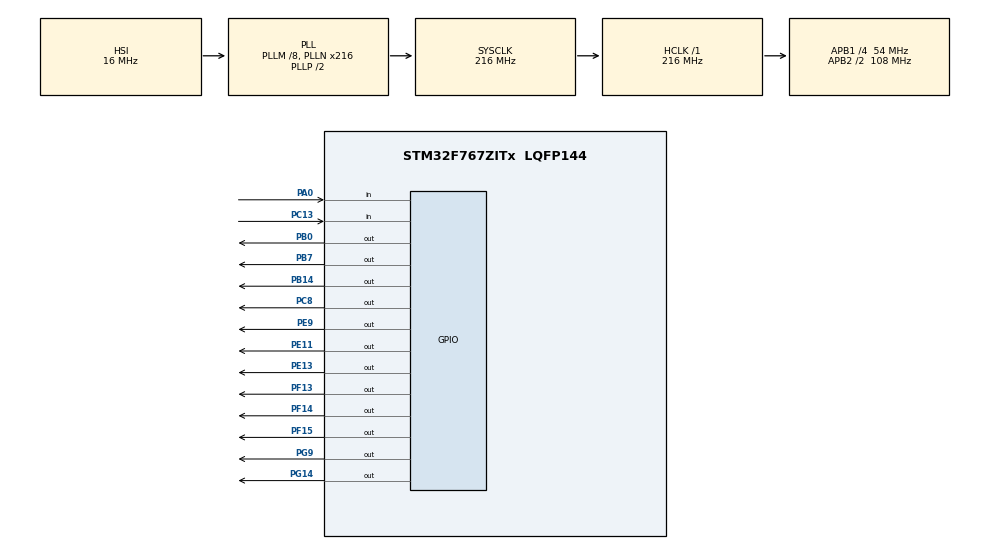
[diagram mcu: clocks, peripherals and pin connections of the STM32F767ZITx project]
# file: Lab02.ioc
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Mcu.Family=STM32F7
Mcu.Name=STM32F767ZITx
Mcu.Package=LQFP144
NVIC.PriorityGroup=NVIC_PRIORITYGROUP_4
PA0/WKUP.Signal=GPIO_Input
PB0.Signal=GPIO_Output
PB14.Signal=GPIO_Output
PB7.Signal=GPIO_Output
PC13.Signal=GPIO_Input
PC8.Signal=GPIO_Output
PE11.Signal=GPIO_Output
PE13.Signal=GPIO_Output
PE9.Signal=GPIO_Output
PF13.Signal=GPIO_Output
PF14.Signal=GPIO_Output
PF15.Signal=GPIO_Output
PG14.Signal=GPIO_Output
PG9.Signal=GPIO_Output
ProjectManager.HeapSize=0x200
ProjectManager.StackSize=0x400
ProjectManager.TargetToolchain=STM32CubeIDE
RCC.AHBFreq_Value=216000000
RCC.APB1CLKDivider=RCC_HCLK_DIV4
RCC.APB1Freq_Value=54000000
RCC.APB1TimFreq_Value=108000000
RCC.APB2CLKDivider=RCC_HCLK_DIV2
RCC.APB2Freq_Value=108000000
RCC.APB2TimFreq_Value=216000000
RCC.CortexFreq_Value=216000000
RCC.HCLKFreq_Value=216000000
RCC.HSE_VALUE=25000000
RCC.HSI_VALUE=16000000
RCC.LSE_VALUE=32768
RCC.PLLM=8
RCC.PLLN=216
RCC.SYSCLKFreq_VALUE=216000000
RCC.SYSCLKSource=RCC_SYSCLKSOURCE_PLLCLK
RCC.USBFreq_Value=216000000
RCC.VCOOutputFreq_Value=432000000
board=custom

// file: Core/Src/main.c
/* USER CODE BEGIN Header */
/**
  ******************************************************************************
  * @file           : main.c
  * @brief          : Main program body
  ******************************************************************************
  * @attention
  *
  * Copyright (c) 2023 STMicroelectronics.
  * All rights reserved.
  *
  * This software is licensed under terms that can be found in the LICENSE file
  * in the root directory of this software component.
  * If no LICENSE file comes with this software, it is provided AS-IS.
  *
  ******************************************************************************
  */
/* USER CODE END Header */
#include "main.h"

/* USER CODE BEGIN Includes */
void B1_UP(i){
	if (i == 0){
		HAL_GPIO_WritePin(GPIOG,GPIO_PIN_9,GPIO_PIN_SET);
		HAL_GPIO_WritePin(GPIOF,GPIO_PIN_13,GPIO_PIN_RESET);
	}
	else if (i == 1){
		HAL_GPIO_WritePin(GPIOF,GPIO_PIN_13,GPIO_PIN_RESET);
		HAL_GPIO_WritePin(GPIOG,GPIO_PIN_9,GPIO_PIN_RESET);
		HAL_GPIO_WritePin(GPIOG,GPIO_PIN_14,GPIO_PIN_SET);
	}
	else if (i == 2){
		HAL_GPIO_WritePin(GPIOG,GPIO_PIN_14,GPIO_PIN_RESET);
		HAL_GPIO_WritePin(GPIOF,GPIO_PIN_15,GPIO_PIN_SET);
	}
	else if (i == 3){
		HAL_GPIO_WritePin(GPIOF,GPIO_PIN_15,GPIO_PIN_RESET);
		HAL_GPIO_WritePin(GPIOE,GPIO_PIN_13,GPIO_PIN_SET);

	}
	else if (i == 4){
		HAL_GPIO_WritePin(GPIOE,GPIO_PIN_13,GPIO_PIN_RESET);
		HAL_GPIO_WritePin(GPIOF,GPIO_PIN_14,GPIO_PIN_SET);

	}
	else if (i == 5){
		HAL_GPIO_WritePin(GPIOF,GPIO_PIN_14,GPIO_PIN_RESET);
		HAL_GPIO_WritePin(GPIOE,GPIO_PIN_11,GPIO_PIN_SET);

	}
	else if (i == 6){
		HAL_GPIO_WritePin(GPIOE,GPIO_PIN_11,GPIO_PIN_RESET);
		HAL_GPIO_WritePin(GPIOE,GPIO_PIN_9,GPIO_PIN_SET);
	}
	else if (i == 7){
		HAL_GPIO_WritePin(GPIOE,GPIO_PIN_9,GPIO_PIN_RESET);
		HAL_GPIO_WritePin(GPIOF,GPIO_PIN_13,GPIO_PIN_SET);
	}
}

void B1_DOWN(i){
	if (i == 8){
		HAL_GPIO_WritePin(GPIOG,GPIO_PIN_9,GPIO_PIN_RESET);
		HAL_GPIO_WritePin(GPIOF,GPIO_PIN_13,GPIO_PIN_RESET);
		HAL_GPIO_WritePin(GPIOE,GPIO_PIN_9,GPIO_PIN_SET);
	}
	else if (i == 7){
		HAL_GPIO_WritePin(GPIOE,GPIO_PIN_9,GPIO_PIN_RESET);
		HAL_GPIO_WritePin(GPIOE,GPIO_PIN_11,GPIO_PIN_SET);
	}
	else if (i == 6){
		HAL_GPIO_WritePin(GPIOE,GPIO_PIN_11,GPIO_PIN_RESET);
		HAL_GPIO_WritePin(GPIOF,GPIO_PIN_14,GPIO_PIN_SET);
	}
	else if (i ==5){
		HAL_GPIO_WritePin(GPIOF,GPIO_PIN_14,GPIO_PIN_RESET);
		HAL_GPIO_WritePin(GPIOE,GPIO_PIN_13,GPIO_PIN_SET);

	}
	else if (i == 4){
		HAL_GPIO_WritePin(GPIOE,GPIO_PIN_13,GPIO_PIN_RESET);
		HAL_GPIO_WritePin(GPIOF,GPIO_PIN_15,GPIO_PIN_SET);

	}
	else if (i == 3){
		HAL_GPIO_WritePin(GPIOF,GPIO_PIN_15,GPIO_PIN_RESET);
		HAL_GPIO_WritePin(GPIOG,GPIO_PIN_14,GPIO_PIN_SET);

	}
	else if (i == 2){
		HAL_GPIO_WritePin(GPIOG,GPIO_PIN_14,GPIO_PIN_RESET);
		HAL_GPIO_WritePin(GPIOG,GPIO_PIN_9,GPIO_PIN_SET);
	}
	else{
		HAL_GPIO_WritePin(GPIOG,GPIO_PIN_9,GPIO_PIN_RESET);
	}

}
/* USER CODE END Includes */

/* USER CODE BEGIN PV */

int i = 0;
int before = 0;
/* USER CODE END PV */

void SystemClock_Config(void);
static void MX_GPIO_Init(void);

int main(void)
{

  /* MCU Configuration--------------------------------------------------------*/

  /* Reset of all peripherals, Initializes the Flash interface and the Systick. */
  HAL_Init();

  /* Configure the system clock */
  SystemClock_Config();

  /* Initialize all configured peripherals */
  MX_GPIO_Init();

  /* Infinite loop */
  while (1)
  {

    /* USER CODE BEGIN 3 */
	  if (HAL_GPIO_ReadPin(GPIOA, GPIO_PIN_0) == GPIO_PIN_RESET){
		  for (int n=i; n>=2;n--){
			  B1_DOWN(n);
			  HAL_Delay(500);
		  }
		  B1_DOWN(0);
		  HAL_GPIO_WritePin(GPIOF,GPIO_PIN_13,GPIO_PIN_SET);
		  HAL_Delay(500);
		  for(int n=8;n>i && n>=1;n--){
			  B1_DOWN(n);
			  if (n==1 && before==7){
				  HAL_GPIO_WritePin(GPIOF,GPIO_PIN_13,GPIO_PIN_SET);
			  }
			  HAL_Delay(500);

		  }

	  }
	  else if (HAL_GPIO_ReadPin(GPIOC, GPIO_PIN_13) == GPIO_PIN_SET)
	  {
		  B1_UP(i);
		  before = i;
		  i = (i+1)%8;
		  HAL_Delay(500);
	  }
  }
  /* USER CODE END 3 */
}

void SystemClock_Config(void)
{
  RCC_OscInitTypeDef RCC_OscInitStruct = {0};
  RCC_ClkInitTypeDef RCC_ClkInitStruct = {0};

  /** Configure the main internal regulator output voltage
  */
  __HAL_RCC_PWR_CLK_ENABLE();
  __HAL_PWR_VOLTAGESCALING_CONFIG(PWR_REGULATOR_VOLTAGE_SCALE1);

  /** Initializes the RCC Oscillators according to the specified parameters
  * in the RCC_OscInitTypeDef structure.
  */
  RCC_OscInitStruct.OscillatorType = RCC_OSCILLATORTYPE_HSI;
  RCC_OscInitStruct.HSIState = RCC_HSI_ON;
  RCC_OscInitStruct.HSICalibrationValue = RCC_HSICALIBRATION_DEFAULT;
  RCC_OscInitStruct.PLL.PLLState = RCC_PLL_ON;
  RCC_OscInitStruct.PLL.PLLSource = RCC_PLLSOURCE_HSI;
  RCC_OscInitStruct.PLL.PLLM = 8;
  RCC_OscInitStruct.PLL.PLLN = 216;
  RCC_OscInitStruct.PLL.PLLP = RCC_PLLP_DIV2;
  RCC_OscInitStruct.PLL.PLLQ = 2;
  RCC_OscInitStruct.PLL.PLLR = 2;
  if (HAL_RCC_OscConfig(&RCC_OscInitStruct) != HAL_OK)
  {
    Error_Handler();
  }

  /** Activate the Over-Drive mode
  */
  if (HAL_PWREx_EnableOverDrive() != HAL_OK)
  {
    Error_Handler();
  }

  /** Initializes the CPU, AHB and APB buses clocks
  */
  RCC_ClkInitStruct.ClockType = RCC_CLOCKTYPE_HCLK|RCC_CLOCKTYPE_SYSCLK
                              |RCC_CLOCKTYPE_PCLK1|RCC_CLOCKTYPE_PCLK2;
  RCC_ClkInitStruct.SYSCLKSource = RCC_SYSCLKSOURCE_PLLCLK;
  RCC_ClkInitStruct.AHBCLKDivider = RCC_SYSCLK_DIV1;
  RCC_ClkInitStruct.APB1CLKDivider = RCC_HCLK_DIV4;
  RCC_ClkInitStruct.APB2CLKDivider = RCC_HCLK_DIV2;

  if (HAL_RCC_ClockConfig(&RCC_ClkInitStruct, FLASH_LATENCY_7) != HAL_OK)
  {
    Error_Handler();
  }
}

static void MX_GPIO_Init(void)
{
  GPIO_InitTypeDef GPIO_InitStruct = {0};

  /* GPIO Ports Clock Enable */
  __HAL_RCC_GPIOC_CLK_ENABLE();
  __HAL_RCC_GPIOA_CLK_ENABLE();
  __HAL_RCC_GPIOB_CLK_ENABLE();
  __HAL_RCC_GPIOF_CLK_ENABLE();
  __HAL_RCC_GPIOE_CLK_ENABLE();
  __HAL_RCC_GPIOG_CLK_ENABLE();

  /*Configure GPIO pin Output Level */
  HAL_GPIO_WritePin(GPIOB, GPIO_PIN_0|GPIO_PIN_14|GPIO_PIN_7, GPIO_PIN_RESET);

  /*Configure GPIO pin Output Level */
  HAL_GPIO_WritePin(GPIOF, GPIO_PIN_13|GPIO_PIN_14|GPIO_PIN_15, GPIO_PIN_RESET);

  /*Configure GPIO pin Output Level */
  HAL_GPIO_WritePin(GPIOE, GPIO_PIN_9|GPIO_PIN_11|GPIO_PIN_13, GPIO_PIN_RESET);

  /*Configure GPIO pin Output Level */
  HAL_GPIO_WritePin(GPIOC, GPIO_PIN_8, GPIO_PIN_RESET);

  /*Configure GPIO pin Output Level */
  HAL_GPIO_WritePin(GPIOG, GPIO_PIN_9|GPIO_PIN_14, GPIO_PIN_RESET);

  /*Configure GPIO pin : PC13 */
  GPIO_InitStruct.Pin = GPIO_PIN_13;
  GPIO_InitStruct.Mode = GPIO_MODE_INPUT;
  GPIO_InitStruct.Pull = GPIO_NOPULL;
  HAL_GPIO_Init(GPIOC, &GPIO_InitStruct);

  /*Configure GPIO pin : PA0 */
  GPIO_InitStruct.Pin = GPIO_PIN_0;
  GPIO_InitStruct.Mode = GPIO_MODE_INPUT;
  GPIO_InitStruct.Pull = GPIO_NOPULL;
  HAL_GPIO_Init(GPIOA, &GPIO_InitStruct);

  /*Configure GPIO pins : PB0 PB14 PB7 */
  GPIO_InitStruct.Pin = GPIO_PIN_0|GPIO_PIN_14|GPIO_PIN_7;
  GPIO_InitStruct.Mode = GPIO_MODE_OUTPUT_PP;
  GPIO_InitStruct.Pull = GPIO_NOPULL;
  GPIO_InitStruct.Speed = GPIO_SPEED_FREQ_LOW;
  HAL_GPIO_Init(GPIOB, &GPIO_InitStruct);

  /*Configure GPIO pins : PF13 PF14 PF15 */
  GPIO_InitStruct.Pin = GPIO_PIN_13|GPIO_PIN_14|GPIO_PIN_15;
  GPIO_InitStruct.Mode = GPIO_MODE_OUTPUT_PP;
  GPIO_InitStruct.Pull = GPIO_NOPULL;
  GPIO_InitStruct.Speed = GPIO_SPEED_FREQ_LOW;
  HAL_GPIO_Init(GPIOF, &GPIO_InitStruct);

  /*Configure GPIO pins : PE9 PE11 PE13 */
  GPIO_InitStruct.Pin = GPIO_PIN_9|GPIO_PIN_11|GPIO_PIN_13;
  GPIO_InitStruct.Mode = GPIO_MODE_OUTPUT_PP;
  GPIO_InitStruct.Pull = GPIO_NOPULL;
  GPIO_InitStruct.Speed = GPIO_SPEED_FREQ_LOW;
  HAL_GPIO_Init(GPIOE, &GPIO_InitStruct);

  /*Configure GPIO pin : PC8 */
  GPIO_InitStruct.Pin = GPIO_PIN_8;
  GPIO_InitStruct.Mode = GPIO_MODE_OUTPUT_PP;
  GPIO_InitStruct.Pull = GPIO_NOPULL;
  GPIO_InitStruct.Speed = GPIO_SPEED_FREQ_LOW;
  HAL_GPIO_Init(GPIOC, &GPIO_InitStruct);

  /*Configure GPIO pins : PG9 PG14 */
  GPIO_InitStruct.Pin = GPIO_PIN_9|GPIO_PIN_14;
  GPIO_InitStruct.Mode = GPIO_MODE_OUTPUT_PP;
  GPIO_InitStruct.Pull = GPIO_NOPULL;
  GPIO_InitStruct.Speed = GPIO_SPEED_FREQ_LOW;
  HAL_GPIO_Init(GPIOG, &GPIO_InitStruct);

}

void Error_Handler(void)
{
  __disable_irq();
  while (1)
  {
  }
}
